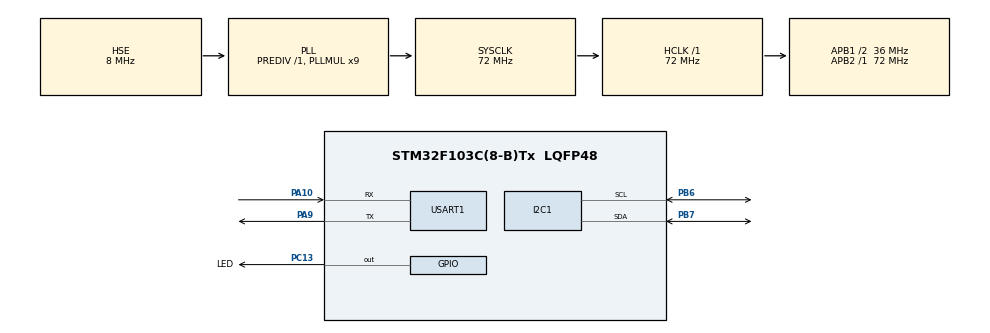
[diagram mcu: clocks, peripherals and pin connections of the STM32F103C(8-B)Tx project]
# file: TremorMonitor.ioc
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I2C1.I2C_Mode=I2C_Fast
Mcu.Family=STM32F1
Mcu.Name=STM32F103C(8-B)Tx
Mcu.Package=LQFP48
NVIC.PriorityGroup=NVIC_PRIORITYGROUP_4
PA10.Mode=Asynchronous
PA10.Signal=USART1_RX
PA13.Mode=Serial_Wire
PA13.Signal=SYS_JTMS-SWDIO
PA14.Mode=Serial_Wire
PA14.Signal=SYS_JTCK-SWCLK
PA9.Mode=Asynchronous
PA9.Signal=USART1_TX
PB6.Mode=I2C
PB6.Signal=I2C1_SCL
PB7.Mode=I2C
PB7.Signal=I2C1_SDA
PC13-TAMPER-RTC.GPIO_Label=LED
PC13-TAMPER-RTC.Signal=GPIO_Output
PD0-OSC_IN.Mode=HSE-External-Oscillator
PD0-OSC_IN.Signal=RCC_OSC_IN
PD1-OSC_OUT.Mode=HSE-External-Oscillator
PD1-OSC_OUT.Signal=RCC_OSC_OUT
ProjectManager.HeapSize=0x200
ProjectManager.StackSize=0x400
ProjectManager.TargetToolchain=STM32CubeIDE
RCC.AHBFreq_Value=72000000
RCC.APB1CLKDivider=RCC_HCLK_DIV2
RCC.APB1Freq_Value=36000000
RCC.APB1TimFreq_Value=72000000
RCC.APB2Freq_Value=72000000
RCC.APB2TimFreq_Value=72000000
RCC.HCLKFreq_Value=72000000
RCC.PLLMUL=RCC_PLL_MUL9
RCC.PLLSourceVirtual=RCC_PLLSOURCE_HSE
RCC.SYSCLKFreq_VALUE=72000000
RCC.SYSCLKSource=RCC_SYSCLKSOURCE_PLLCLK
RCC.USBFreq_Value=72000000
USART1.VirtualMode=VM_ASYNC
board=custom

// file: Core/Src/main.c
/* USER CODE BEGIN Header */
/**
  ******************************************************************************
  * @file           : main.c
  * @brief          : Main program body
  ******************************************************************************
  * @attention
  *
  * Copyright (c) 2026 STMicroelectronics.
  * All rights reserved.
  *
  * This software is licensed under terms that can be found in the LICENSE file
  * in the root directory of this software component.
  * If no LICENSE file comes with this software, it is provided AS-IS.
  *
  ******************************************************************************
  */
/* USER CODE END Header */
#include "main.h"

/* USER CODE BEGIN Includes */
#include <stdio.h>
#include <string.h>
#include <math.h>
#include <stdint.h>
#include "ssd1306.h"
/* USER CODE END Includes */

/* USER CODE BEGIN PD */
#define MPU_ADDR   (0x68 << 1)   /* HAL wants the 8-bit address */
#define ACC_SENS   8192.0f       /* LSB/g at +-4 g              */
#define GYR_SENS   65.5f         /* LSB/(deg/s) at +-500 dps    */
#define TS_MS      10U           /* 100 Hz sampling             */
#define WIN        100           /* 1 s analysis window         */
#define A_HP       0.841f        /* 3 Hz high-pass @ 100 Hz     */
#define A_LP       0.430f        /* 12 Hz low-pass @ 100 Hz     */
/* USER CODE END PD */

I2C_HandleTypeDef hi2c1;

UART_HandleTypeDef huart1;

/* USER CODE BEGIN PV */
/* Globals for CubeIDE Live Expressions (watch these while debugging) */
volatile float g_rmsA = 0, g_freq = 0;
volatile char g_level[12] = "NONE";

typedef struct {
    float xh[2], yh[2], yl[2];
} Bandpass;

static Bandpass bpA[3], bpG[3];

static float bp_process(Bandpass *b, float x)
{
    float v = x;
    for (int i = 0; i < 2; i++) {            /* 2 cascaded high-pass */
        float y = A_HP * (b->yh[i] + v - b->xh[i]);
        b->xh[i] = v;
        b->yh[i] = y;
        v = y;
    }
    for (int i = 0; i < 2; i++) {            /* 2 cascaded low-pass */
        b->yl[i] += A_LP * (v - b->yl[i]);
        v = b->yl[i];
    }
    return v;
}
/* USER CODE END PV */

void SystemClock_Config(void);
static void MX_GPIO_Init(void);
static void MX_I2C1_Init(void);
static void MX_USART1_UART_Init(void);

/* USER CODE BEGIN 0 */
static HAL_StatusTypeDef mpu_write(uint8_t reg, uint8_t val)
{
    return HAL_I2C_Mem_Write(&hi2c1, MPU_ADDR, reg,
                             I2C_MEMADD_SIZE_8BIT, &val, 1, 100);
}

static HAL_StatusTypeDef mpu_read_all(int16_t *d)  /* d[7]: ax ay az T gx gy gz */
{
    uint8_t buf[14];
    HAL_StatusTypeDef st = HAL_I2C_Mem_Read(&hi2c1, MPU_ADDR, 0x3B,
                             I2C_MEMADD_SIZE_8BIT, buf, 14, 100);
    if (st != HAL_OK) return st;
    for (int i = 0; i < 7; i++)
        d[i] = (int16_t)((buf[2 * i] << 8) | buf[2 * i + 1]);
    return HAL_OK;
}

/* Classifies tremor severity from filtered RMS amplitude (g) and the
   dominant frequency (Hz) of the filtered signal.
   - Low energy              -> NONE
   - Energy present, but the dominant frequency is outside the 3-12 Hz
     tremor band -> likely voluntary/normal movement, not tremor -> MOTION
   - Energy present and frequency is within the tremor band -> graded
     by amplitude into MILD / MODERATE / SEVERE
   PLACEHOLDER thresholds - calibrate with your own test data! */
static const char *classify(float rmsA, float freqHz)
{
    if (rmsA < 0.02f) return "NONE";
    if (freqHz < 3.0f || freqHz > 12.0f) return "MOTION";
    if (rmsA < 0.05f) return "MILD";
    if (rmsA < 0.15f) return "MODERATE";
    return "SEVERE";
}

static void uart_print(const char *s)
{
    HAL_UART_Transmit(&huart1, (uint8_t *)s, strlen(s), 100);
}
/* USER CODE END 0 */

int main(void)
{

  /* MCU Configuration--------------------------------------------------------*/

  /* Reset of all peripherals, Initializes the Flash interface and the Systick. */
  HAL_Init();

  /* Configure the system clock */
  SystemClock_Config();

  /* Initialize all configured peripherals */
  MX_GPIO_Init();
  MX_I2C1_Init();
  MX_USART1_UART_Init();
  /* USER CODE BEGIN 2 */
  HAL_GPIO_WritePin(LED_GPIO_Port, LED_Pin, GPIO_PIN_SET);  /* LED off (active low) */

  if (HAL_I2C_IsDeviceReady(&hi2c1, MPU_ADDR, 3, 100) != HAL_OK) {
      uart_print("MPU6050 NOT FOUND - check wiring\r\n");
      while (1) {                                           /* fast blink = error */
          HAL_GPIO_TogglePin(LED_GPIO_Port, LED_Pin);
          HAL_Delay(150);
      }
  }
  mpu_write(0x6B, 0x00);   /* wake up          */
  mpu_write(0x1A, 0x03);   /* DLPF ~44 Hz      */
  mpu_write(0x1B, 0x08);   /* gyro  +-500 dps  */
  mpu_write(0x1C, 0x08);   /* accel +-4 g      */
  uart_print("rms_acc_mg,rms_gyro_dps_x10,freq_hz_x10,level\r\n");

  SSD1306_Init(&hi2c1);
  SSD1306_DrawString(0, 0, "TREMOR MONITOR");
  SSD1306_UpdateScreen();
  HAL_Delay(1000);

  uint32_t next = HAL_GetTick() + TS_MS;
  int   n = 0;
  float sumA = 0, sumG = 0, axisE[3] = {0, 0, 0};
  int   cross[3] = {0, 0, 0};
  uint8_t pos[3] = {0, 0, 0};
  char  line[80];
  /* USER CODE END 2 */

  /* Infinite loop */
  while (1)
  {

    /* USER CODE BEGIN 3 */
    if ((int32_t)(HAL_GetTick() - next) >= 0)
    {
        next += TS_MS;

        int16_t d[7];
        if (mpu_read_all(d) == HAL_OK)
        {
            float a[3] = { d[0] / ACC_SENS, d[1] / ACC_SENS, d[2] / ACC_SENS };
            float g[3] = { d[4] / GYR_SENS, d[5] / GYR_SENS, d[6] / GYR_SENS };

            float eA = 0, eG = 0;
            for (int i = 0; i < 3; i++) {
                float fa = bp_process(&bpA[i], a[i]);
                float fg = bp_process(&bpG[i], g[i]);
                eA += fa * fa;
                eG += fg * fg;
                axisE[i] += fa * fa;

                /* zero crossings with hysteresis (0.005 g) -> frequency */
                if (!pos[i] && fa > 0.005f)      { pos[i] = 1; cross[i]++; }
                else if (pos[i] && fa < -0.005f) { pos[i] = 0; }
            }
            sumA += eA;
            sumG += eG;

            if (++n >= WIN)
            {
                float rmsA = sqrtf(sumA / WIN);
                float rmsG = sqrtf(sumG / WIN);

                int dom = 0;                                  /* dominant axis */
                for (int i = 1; i < 3; i++)
                    if (axisE[i] > axisE[dom]) dom = i;
                float freq = cross[dom] * (100.0f / WIN);     /* Hz */

                /* Update globals for CubeIDE Live Expressions */
                g_rmsA = rmsA;
                g_freq = freq;
                strncpy((char*)g_level, classify(rmsA, freq), sizeof(g_level) - 1);

                snprintf(line, sizeof(line), "%d,%d,%d,%s\r\n",
                         (int)(rmsA * 1000.0f),
                         (int)(rmsG * 10.0f),
                         (int)(freq * 10.0f),
                         classify(rmsA, freq));
                uart_print(line);

                /* OLED update */
                char l1[20], l2[20], l3[20];
                snprintf(l1, sizeof(l1), "RMS:%d.%03dG",
                         (int)(rmsA * 1000) / 1000, (int)(rmsA * 1000) % 1000);
                snprintf(l2, sizeof(l2), "FREQ:%d.%dHZ",
                         (int)freq, (int)(freq * 10) % 10);
                snprintf(l3, sizeof(l3), "LEVEL:%s", (char *)g_level);

                SSD1306_Clear();
                SSD1306_DrawString(0, 0, "TREMOR MONITOR");
                SSD1306_DrawString(0, 2, l1);
                SSD1306_DrawString(0, 4, l2);
                SSD1306_DrawString(0, 6, l3);
                SSD1306_UpdateScreen();

                HAL_GPIO_WritePin(LED_GPIO_Port, LED_Pin,
                                  rmsA > 0.05f ? GPIO_PIN_RESET : GPIO_PIN_SET);

                n = 0; sumA = 0; sumG = 0;
                for (int i = 0; i < 3; i++) { axisE[i] = 0; cross[i] = 0; }
            }
        }
    }
  }
  /* USER CODE END 3 */
}

void SystemClock_Config(void)
{
  RCC_OscInitTypeDef RCC_OscInitStruct = {0};
  RCC_ClkInitTypeDef RCC_ClkInitStruct = {0};

  /** Initializes the RCC Oscillators according to the specified parameters
  * in the RCC_OscInitTypeDef structure.
  */
  RCC_OscInitStruct.OscillatorType = RCC_OSCILLATORTYPE_HSE;
  RCC_OscInitStruct.HSEState = RCC_HSE_ON;
  RCC_OscInitStruct.HSEPredivValue = RCC_HSE_PREDIV_DIV1;
  RCC_OscInitStruct.HSIState = RCC_HSI_ON;
  RCC_OscInitStruct.PLL.PLLState = RCC_PLL_ON;
  RCC_OscInitStruct.PLL.PLLSource = RCC_PLLSOURCE_HSE;
  RCC_OscInitStruct.PLL.PLLMUL = RCC_PLL_MUL9;
  if (HAL_RCC_OscConfig(&RCC_OscInitStruct) != HAL_OK)
  {
    Error_Handler();
  }

  /** Initializes the CPU, AHB and APB buses clocks
  */
  RCC_ClkInitStruct.ClockType = RCC_CLOCKTYPE_HCLK|RCC_CLOCKTYPE_SYSCLK
                              |RCC_CLOCKTYPE_PCLK1|RCC_CLOCKTYPE_PCLK2;
  RCC_ClkInitStruct.SYSCLKSource = RCC_SYSCLKSOURCE_PLLCLK;
  RCC_ClkInitStruct.AHBCLKDivider = RCC_SYSCLK_DIV1;
  RCC_ClkInitStruct.APB1CLKDivider = RCC_HCLK_DIV2;
  RCC_ClkInitStruct.APB2CLKDivider = RCC_HCLK_DIV1;

  if (HAL_RCC_ClockConfig(&RCC_ClkInitStruct, FLASH_LATENCY_2) != HAL_OK)
  {
    Error_Handler();
  }
}

static void MX_I2C1_Init(void)
{

  hi2c1.Instance = I2C1;
  hi2c1.Init.ClockSpeed = 400000;
  hi2c1.Init.DutyCycle = I2C_DUTYCYCLE_2;
  hi2c1.Init.OwnAddress1 = 0;
  hi2c1.Init.AddressingMode = I2C_ADDRESSINGMODE_7BIT;
  hi2c1.Init.DualAddressMode = I2C_DUALADDRESS_DISABLE;
  hi2c1.Init.OwnAddress2 = 0;
  hi2c1.Init.GeneralCallMode = I2C_GENERALCALL_DISABLE;
  hi2c1.Init.NoStretchMode = I2C_NOSTRETCH_DISABLE;
  if (HAL_I2C_Init(&hi2c1) != HAL_OK)
  {
    Error_Handler();
  }

}

static void MX_USART1_UART_Init(void)
{

  huart1.Instance = USART1;
  huart1.Init.BaudRate = 115200;
  huart1.Init.WordLength = UART_WORDLENGTH_8B;
  huart1.Init.StopBits = UART_STOPBITS_1;
  huart1.Init.Parity = UART_PARITY_NONE;
  huart1.Init.Mode = UART_MODE_TX_RX;
  huart1.Init.HwFlowCtl = UART_HWCONTROL_NONE;
  huart1.Init.OverSampling = UART_OVERSAMPLING_16;
  if (HAL_UART_Init(&huart1) != HAL_OK)
  {
    Error_Handler();
  }

}

static void MX_GPIO_Init(void)
{
  GPIO_InitTypeDef GPIO_InitStruct = {0};

  /* GPIO Ports Clock Enable */
  __HAL_RCC_GPIOC_CLK_ENABLE();
  __HAL_RCC_GPIOD_CLK_ENABLE();
  __HAL_RCC_GPIOA_CLK_ENABLE();
  __HAL_RCC_GPIOB_CLK_ENABLE();

  /*Configure GPIO pin Output Level */
  HAL_GPIO_WritePin(LED_GPIO_Port, LED_Pin, GPIO_PIN_RESET);

  /*Configure GPIO pin : LED_Pin */
  GPIO_InitStruct.Pin = LED_Pin;
  GPIO_InitStruct.Mode = GPIO_MODE_OUTPUT_PP;
  GPIO_InitStruct.Pull = GPIO_NOPULL;
  GPIO_InitStruct.Speed = GPIO_SPEED_FREQ_LOW;
  HAL_GPIO_Init(LED_GPIO_Port, &GPIO_InitStruct);

}

void Error_Handler(void)
{
  __disable_irq();
  while (1)
  {
  }
}
